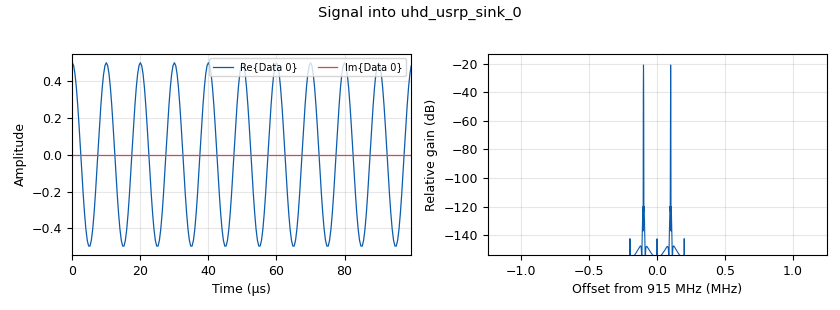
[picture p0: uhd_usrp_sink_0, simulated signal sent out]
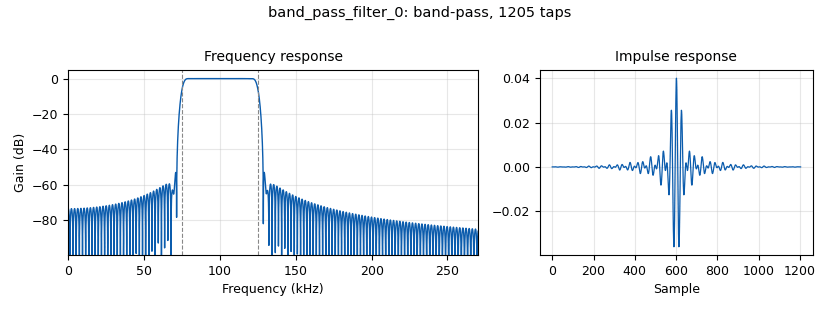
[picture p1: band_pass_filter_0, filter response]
options:
  parameters:
    author: ucanlab
    generate_options: qt_gui
    id: SDR_Hardware_02
    output_language: python
    title: 'GR Tutorial: USRPs'
  states: {}

blocks:
- name: fc_rx
  id: variable_qtgui_range
  parameters:
    gui_hint: 3,2,1,2
    label: Center Frequency - Rx
    orient: Qt.Horizontal
    start: '910000000'
    step: '500000'
    stop: '920000000'
    value: '915000000'
  states: {}
- name: fc_tx
  id: variable_qtgui_range
  parameters:
    gui_hint: 3,0,1,2
    label: Center Frequency - Tx
    orient: Qt.Horizontal
    start: '910000000'
    step: '500000'
    stop: '920000000'
    value: '915000000'
  states: {}
- name: filter_select
  id: variable_qtgui_chooser
  parameters:
    gui_hint: 0,3,1,1
    label: Filter Selection
    label0: Enable
    label1: Bypass
    num_opts: '2'
    option0: '0'
    option1: '1'
    type: int
    value: '0'
  states: {}
- name: gain_rx
  id: variable_qtgui_range
  parameters:
    gui_hint: 2,2,1,2
    label: Gain - Rx
    orient: Qt.Horizontal
    start: '0'
    step: '5'
    stop: '60'
    value: '30'
  states: {}
- name: gain_tx
  id: variable_qtgui_range
  parameters:
    gui_hint: 2,0,1,2
    label: Gain - Tx
    orient: Qt.Horizontal
    start: '0'
    step: '5'
    stop: '60'
    value: '40'
  states: {}
- name: path_select
  id: variable_qtgui_chooser
  parameters:
    gui_hint: 0,2,1,1
    label: Source Signal
    label0: Real Sine
    label1: Complex Sine
    num_opts: '2'
    option0: '0'
    option1: '1'
    type: int
    value: '0'
  states: {}
- name: samp_rate
  id: variable
  parameters:
    value: 2.5e6
  states: {}
- name: sig_freq
  id: variable_qtgui_range
  parameters:
    gui_hint: 0,0,1,2
    label: Signal Frequency
    orient: Qt.Horizontal
    start: 5e4
    step: 5e4
    stop: 5e5
    value: 1e5
  states: {}
- name: analog_const_source_x_0
  id: analog_const_source_x
  parameters:
    const: '0'
    type: float
  states: {}
- name: analog_sig_source_x_0
  id: analog_sig_source_x
  parameters:
    amp: '0.5'
    freq: sig_freq
    offset: '0'
    phase: '0'
    samp_rate: samp_rate
    type: complex
    waveform: analog.GR_COS_WAVE
  states: {}
- name: analog_sig_source_x_1_0
  id: analog_sig_source_x
  parameters:
    amp: '0.5'
    freq: sig_freq
    offset: '0'
    phase: '0'
    samp_rate: samp_rate
    type: float
    waveform: analog.GR_COS_WAVE
  states: {}
- name: band_pass_filter_0
  id: band_pass_filter
  parameters:
    decim: '1'
    gain: '1'
    high_cutoff_freq: sig_freq + 25000
    low_cutoff_freq: sig_freq - 25000
    samp_rate: samp_rate
    type: fir_filter_ccf
    width: 5e3
    win: firdes.WIN_HAMMING
  states: {}
- name: blocks_float_to_complex_0
  id: blocks_float_to_complex
  parameters: {}
  states: {}
- name: blocks_selector_0
  id: blocks_selector
  parameters:
    enabled: 'True'
    input_index: path_select
    num_inputs: '2'
    num_outputs: '1'
    output_index: '0'
    type: complex
  states: {}
- name: blocks_selector_0_0
  id: blocks_selector
  parameters:
    enabled: 'True'
    input_index: filter_select
    num_inputs: '2'
    num_outputs: '1'
    output_index: '0'
    type: complex
  states: {}
- name: note_1_0
  id: note
  parameters:
    note: Transmitter
  states: {}
- name: note_1_0_0
  id: note
  parameters:
    note: Receiver
  states: {}
- name: qtgui_sink_x_0
  id: qtgui_sink_x
  parameters:
    bw: samp_rate
    fc: fc_rx
    fftsize: '1024'
    gui_hint: 1,0,1,4
    showrf: 'True'
    type: complex
    wintype: firdes.WIN_BLACKMAN_hARRIS
  states: {}
- name: rx_addr
  id: parameter
  parameters:
    label: RX Address
    short_id: r
    type: str
    value: '3279500'
  states: {}
- name: tx_addr
  id: parameter
  parameters:
    label: TX Address
    short_id: t
    type: str
    value: '3279417'
  states: {}
- name: uhd_usrp_sink_0
  id: uhd_usrp_sink
  parameters:
    ant0: TX/RX
    center_freq0: fc_tx
    dev_addr: '"serial=" + tx_addr'
    dev_args: '""'
    gain0: gain_tx
    len_tag_name: ''
    norm_gain0: 'False'
    samp_rate: samp_rate
    sync: none
    type: fc32
  states: {}
- name: uhd_usrp_source_0
  id: uhd_usrp_source
  parameters:
    ant0: RX2
    center_freq0: fc_rx
    dc_offs_enb0: '""'
    dev_addr: '"serial=" + rx_addr'
    dev_args: '""'
    gain0: gain_rx
    iq_imbal_enb0: '""'
    norm_gain0: 'False'
    samp_rate: samp_rate
    sync: none
    type: fc32
  states: {}
- name: virtual_sink_0
  id: virtual_sink
  parameters:
    stream_id: Real_Sine
  states: {}
- name: virtual_sink_0_0
  id: virtual_sink
  parameters:
    stream_id: Complex_Sine
  states: {}
- name: virtual_source_0
  id: virtual_source
  parameters:
    stream_id: Real_Sine
  states: {}
- name: virtual_source_0_0
  id: virtual_source
  parameters:
    stream_id: Complex_Sine
  states: {}

connections:
- [analog_const_source_x_0, '0', blocks_float_to_complex_0, '1']
- [analog_sig_source_x_0, '0', virtual_sink_0_0, '0']
- [analog_sig_source_x_1_0, '0', blocks_float_to_complex_0, '0']
- [band_pass_filter_0, '0', blocks_selector_0_0, '0']
- [blocks_float_to_complex_0, '0', virtual_sink_0, '0']
- [blocks_selector_0, '0', uhd_usrp_sink_0, '0']
- [blocks_selector_0_0, '0', qtgui_sink_x_0, '0']
- [uhd_usrp_source_0, '0', band_pass_filter_0, '0']
- [uhd_usrp_source_0, '0', blocks_selector_0_0, '1']
- [virtual_source_0, '0', blocks_selector_0, '0']
- [virtual_source_0_0, '0', blocks_selector_0, '1']

metadata:
  file_format: 1
